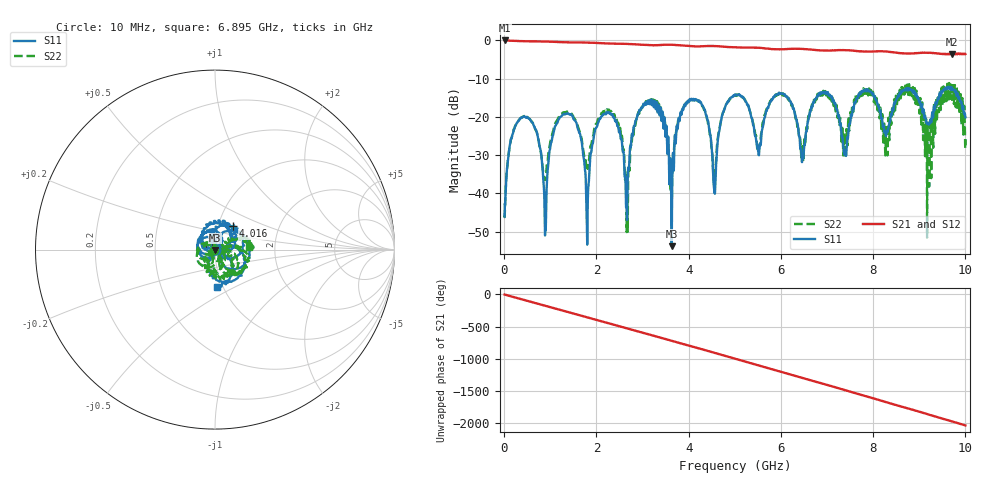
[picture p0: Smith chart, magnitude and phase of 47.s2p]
!Keysight Technologies,E5080B,MY59205177,A.15.75.32
!Date: Friday, February 23, 2024 03:30:03
!Correction: S11(Cdelta 2-Port  )
!S21(Cdelta 2-Port  )
!S12(Cdelta 2-Port  )
!S22(Cdelta 2-Port  )
!S2P File: Measurements: S11, S21, S12, S22:
# Hz S  dB  R 50
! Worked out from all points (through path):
!   10001 points, 10 MHz to 10 GHz, reference 50 ohm
!   highest |S21| = -0.02 dB at 14 MHz (marker M1); lowest = -3.7 dB at 9.701 GHz (marker M2)
!   group delay of S21, straight-line fit = 565 ps
!   lowest |S11| = -53.8 dB at 3.633 GHz (marker M3), VSWR 1.00, Z = 50.1 - j0.188 ohm
!   |S11| at or under -10 dB: start of sweep to end of sweep
!   |S22| runs from -51.6 to -11.1 dB; largest |S21 - S12| = 0.0015
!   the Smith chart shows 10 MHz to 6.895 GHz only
!   S11 on the Smith chart (normalised r, x): 10 MHz: 1.01, -0.00; 4.016 GHz: 1.18, +0.32; 6.895 GHz: 0.94, -0.41
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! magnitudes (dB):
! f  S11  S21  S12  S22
! 10 MHz  -46.1  0.0  0.0  -46.1
! 14 MHz  -43.3  0.0  0.0  -45.6
! 374.6 MHz  -20.2  -0.2  -0.2  -20.1
! 888.1 MHz  -50.4  -0.3  -0.3  -36.2
! 1.181 GHz  -20.7  -0.4  -0.4  -20.1
! 1.675 GHz  -26.0  -0.5  -0.5  -25.4
! 1.805 GHz  -50.0  -0.6  -0.6  -33.1
! 2.35 GHz  -19.4  -0.8  -0.8  -18.8
! 2.664 GHz  -46.9  -0.9  -0.9  -42.7
! 3.341 GHz  -17.5  -1.2  -1.2  -17.8
! 3.633 GHz  -53.8  -1.1  -1.1  -44.4
! 4.016 GHz  -15.6  -1.5  -1.5  -15.6
! 4.561 GHz  -39.7  -1.5  -1.5  -38.7
! 5.005 GHz  -14.1  -1.8  -1.8  -14.5
! 5.517 GHz  -29.8  -1.9  -1.9  -28.7
! 6.67 GHz  -17.3  -2.4  -2.4  -16.9
! 6.895 GHz  -13.6  -2.6  -2.6  -14.3
! 7.384 GHz  -29.8  -2.6  -2.6  -25.8
! 7.796 GHz  -13.1  -2.9  -2.9  -12.8
! 8.336 GHz  -22.7  -3.0  -3.0  -20.8
! 9.701 GHz  -12.2  -3.7  -3.7  -13.8
! 10 GHz  -20.1  -3.6  -3.6  -25.8
